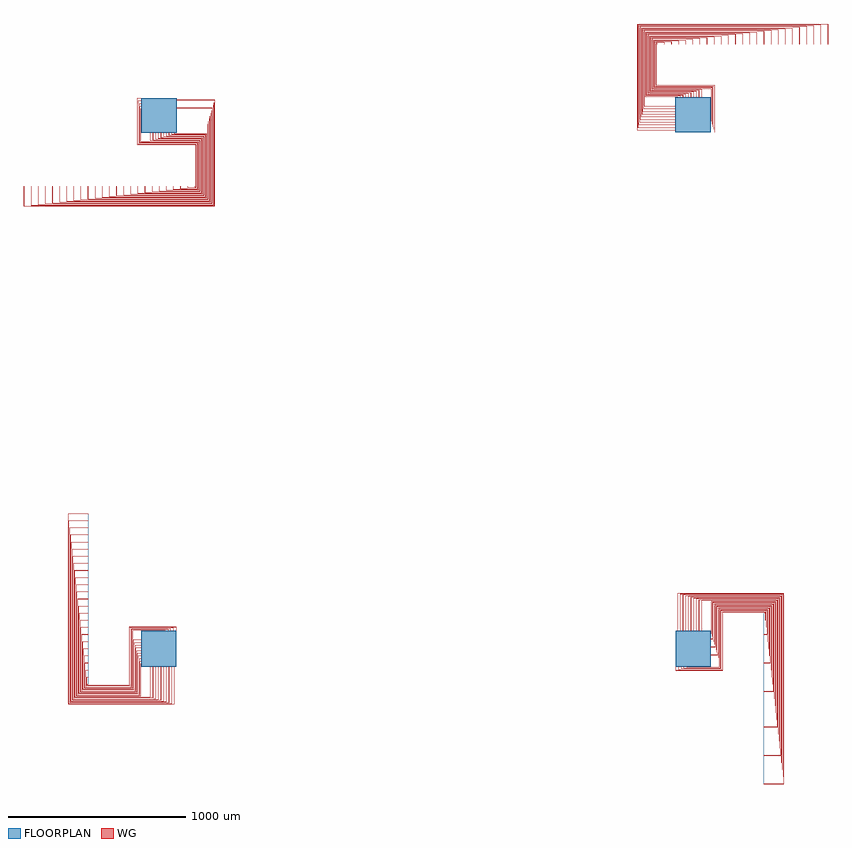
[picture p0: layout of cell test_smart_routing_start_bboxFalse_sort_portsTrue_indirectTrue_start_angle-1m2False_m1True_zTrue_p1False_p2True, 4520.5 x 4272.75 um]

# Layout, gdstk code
import gdstk
lib = gdstk.Library(unit=1e-6, precision=1e-09)
def R(c, l, rs):  # rectangles x0, y0, x1, y1
    for r in rs: c.add(gdstk.rectangle(r[:2], r[2:], *l))
def P(c, l, *ps):  # polygons
    for p in ps: c.add(gdstk.Polygon(p, *l))
WG = (1, 0)
FLOORPLAN = (10, 0)

test_smart_routing_start = lib.new_cell('test_smart_routing_start_bboxFalse_sort_portsTrue_indirectTrue_start_angle-1m2False_m1True_zTrue_p1False_p2True')
P(test_smart_routing_start, WG, [(-404.5,-204.75),(-404.5,-199.75),(-400,-199.75),(-400,-200.25),(-404,-200.25),(-404,-204.25),(-167.5,-204.25),(-167.5,122.5),(95.25,122.5),(95.25,100),(94.75,100),(94.75,122),(-167,122),(-167,-204.75)],
  [(-409,-209.25),(-409,-159.75),(-400,-159.75),(-400,-160.25),(-408.5,-160.25),(-408.5,-208.75),(-163,-208.75),(-163,118),(80.25,118),(80.25,100),(79.75,100),(79.75,117.5),(-162.5,117.5),(-162.5,-209.25)],
  [(-413.5,-213.75),(-413.5,-119.75),(-400,-119.75),(-400,-120.25),(-413,-120.25),(-413,-213.25),(-158.5,-213.25),(-158.5,113.5),(65.25,113.5),(65.25,100),(64.75,100),(64.75,113),(-158,113),(-158,-213.75)],
  [(-418,-218.25),(-418,-79.75),(-400,-79.75),(-400,-80.25),(-417.5,-80.25),(-417.5,-217.75),(-154,-217.75),(-154,109),(50.25,109),(50.25,100),(49.75,100),(49.75,108.5),(-153.5,108.5),(-153.5,-218.25)],
  [(-422.5,-222.75),(-422.5,-39.75),(-400,-39.75),(-400,-40.25),(-422,-40.25),(-422,-222.25),(-149.5,-222.25),(-149.5,104.5),(35.25,104.5),(35.25,100),(34.75,100),(34.75,104),(-149,104),(-149,-222.75)],
  [(-427,-227.25),(-427,0.25),(-400,0.25),(-400,-0.25),(-426.5,-0.25),(-426.5,-226.75),(-145,-226.75),(-145,50.25),(-100,50.25),(-100,49.75),(-144.5,49.75),(-144.5,-227.25)],
  [(-431.5,-231.75),(-431.5,40.25),(-400,40.25),(-400,39.75),(-431,39.75),(-431,-231.25),(-140.5,-231.25),(-140.5,35.25),(-100,35.25),(-100,34.75),(-140,34.75),(-140,-231.75)],
  [(-436,-236.25),(-436,80.25),(-400,80.25),(-400,79.75),(-435.5,79.75),(-435.5,-235.75),(-136,-235.75),(-136,20.25),(-100,20.25),(-100,19.75),(-135.5,19.75),(-135.5,-236.25)],
  [(-440.5,-240.75),(-440.5,120.25),(-400,120.25),(-400,119.75),(-440,119.75),(-440,-240.25),(-131.5,-240.25),(-131.5,5.25),(-100,5.25),(-100,4.75),(-131,4.75),(-131,-240.75)],
  [(-445,-245.25),(-445,160.25),(-400,160.25),(-400,159.75),(-444.5,159.75),(-444.5,-244.75),(-127,-244.75),(-127,-9.75),(-100,-9.75),(-100,-10.25),(-126.5,-10.25),(-126.5,-245.25)],
  [(-449.5,-249.75),(-449.5,200.25),(-400,200.25),(-400,199.75),(-449,199.75),(-449,-249.25),(-122.5,-249.25),(-122.5,-24.75),(-100,-24.75),(-100,-25.25),(-122,-25.25),(-122,-249.75)],
  [(-454,-254.25),(-454,240.25),(-400,240.25),(-400,239.75),(-453.5,239.75),(-453.5,-253.75),(-118,-253.75),(-118,-39.75),(-100,-39.75),(-100,-40.25),(-117.5,-40.25),(-117.5,-254.25)],
  [(-458.5,-258.75),(-458.5,280.25),(-400,280.25),(-400,279.75),(-458,279.75),(-458,-258.25),(-113.5,-258.25),(-113.5,-54.75),(-100,-54.75),(-100,-55.25),(-113,-55.25),(-113,-258.75)],
  [(-463,-263.25),(-463,320.25),(-400,320.25),(-400,319.75),(-462.5,319.75),(-462.5,-262.75),(-109,-262.75),(-109,-69.75),(-100,-69.75),(-100,-70.25),(-108.5,-70.25),(-108.5,-263.25)],
  [(-467.5,-267.75),(-467.5,360.25),(-400,360.25),(-400,359.75),(-467,359.75),(-467,-267.25),(-104.5,-267.25),(-104.5,-84.75),(-100,-84.75),(-100,-85.25),(-104,-85.25),(-104,-267.75)],
  [(-472,-272.25),(-472,400.25),(-400,400.25),(-400,399.75),(-471.5,399.75),(-471.5,-271.75),(-50.25,-271.75),(-50.25,-100),(-49.75,-100),(-49.75,-272.25)],
  [(-476.5,-276.75),(-476.5,440.25),(-400,440.25),(-400,439.75),(-476,439.75),(-476,-276.25),(-35.25,-276.25),(-35.25,-100),(-34.75,-100),(-34.75,-276.75)],
  [(-481,-281.25),(-481,480.25),(-400,480.25),(-400,479.75),(-480.5,479.75),(-480.5,-280.75),(-20.25,-280.75),(-20.25,-100),(-19.75,-100),(-19.75,-281.25)],
  [(-485.5,-285.75),(-485.5,520.25),(-400,520.25),(-400,519.75),(-485,519.75),(-485,-285.25),(-5.25,-285.25),(-5.25,-100),(-4.75,-100),(-4.75,-285.75)],
  [(-490,-290.25),(-490,560.25),(-400,560.25),(-400,559.75),(-489.5,559.75),(-489.5,-289.75),(9.75,-289.75),(9.75,-100),(10.25,-100),(10.25,-290.25)],
  [(-494.5,-294.75),(-494.5,600.25),(-400,600.25),(-400,599.75),(-494,599.75),(-494,-294.25),(24.75,-294.25),(24.75,-100),(25.25,-100),(25.25,-294.75)],
  [(-499,-299.25),(-499,640.25),(-400,640.25),(-400,639.75),(-498.5,639.75),(-498.5,-298.75),(39.75,-298.75),(39.75,-100),(40.25,-100),(40.25,-299.25)],
  [(-503.5,-303.75),(-503.5,680.25),(-400,680.25),(-400,679.75),(-503,679.75),(-503,-303.25),(54.75,-303.25),(54.75,-100),(55.25,-100),(55.25,-303.75)],
  [(-508,-308.25),(-508,720.25),(-400,720.25),(-400,719.75),(-507.5,719.75),(-507.5,-307.75),(69.75,-307.75),(69.75,-100),(70.25,-100),(70.25,-308.25)],
  [(-512.5,-312.75),(-512.5,760.25),(-400,760.25),(-400,759.75),(-512,759.75),(-512,-312.25),(84.75,-312.25),(84.75,-100),(85.25,-100),(85.25,-312.75)],
  [(199.75,2595.5),(199.75,2600),(200.25,2600),(200.25,2596),(204.25,2596),(204.25,2832.5),(-122.5,2832.5),(-122.5,3095.25),(-100,3095.25),(-100,3094.75),(-122,3094.75),(-122,2833),(204.75,2833),(204.75,2595.5)],
  [(159.75,2591),(159.75,2600),(160.25,2600),(160.25,2591.5),(208.75,2591.5),(208.75,2837),(-118,2837),(-118,3080.25),(-100,3080.25),(-100,3079.75),(-117.5,3079.75),(-117.5,2837.5),(209.25,2837.5),(209.25,2591)],
  [(119.75,2586.5),(119.75,2600),(120.25,2600),(120.25,2587),(213.25,2587),(213.25,2841.5),(-113.5,2841.5),(-113.5,3065.25),(-100,3065.25),(-100,3064.75),(-113,3064.75),(-113,2842),(213.75,2842),(213.75,2586.5)],
  [(79.75,2582),(79.75,2600),(80.25,2600),(80.25,2582.5),(217.75,2582.5),(217.75,2846),(-109,2846),(-109,3050.25),(-100,3050.25),(-100,3049.75),(-108.5,3049.75),(-108.5,2846.5),(218.25,2846.5),(218.25,2582)],
  [(39.75,2577.5),(39.75,2600),(40.25,2600),(40.25,2578),(222.25,2578),(222.25,2850.5),(-104.5,2850.5),(-104.5,3035.25),(-100,3035.25),(-100,3034.75),(-104,3034.75),(-104,2851),(222.75,2851),(222.75,2577.5)],
  [(-0.25,2573),(-0.25,2600),(0.25,2600),(0.25,2573.5),(226.75,2573.5),(226.75,2855),(-50.25,2855),(-50.25,2900),(-49.75,2900),(-49.75,2855.5),(227.25,2855.5),(227.25,2573)],
  [(-40.25,2568.5),(-40.25,2600),(-39.75,2600),(-39.75,2569),(231.25,2569),(231.25,2859.5),(-35.25,2859.5),(-35.25,2900),(-34.75,2900),(-34.75,2860),(231.75,2860),(231.75,2568.5)],
  [(-80.25,2564),(-80.25,2600),(-79.75,2600),(-79.75,2564.5),(235.75,2564.5),(235.75,2864),(-20.25,2864),(-20.25,2900),(-19.75,2900),(-19.75,2864.5),(236.25,2864.5),(236.25,2564)],
  [(-120.25,2559.5),(-120.25,2600),(-119.75,2600),(-119.75,2560),(240.25,2560),(240.25,2868.5),(-5.25,2868.5),(-5.25,2900),(-4.75,2900),(-4.75,2869),(240.75,2869),(240.75,2559.5)],
  [(-160.25,2555),(-160.25,2600),(-159.75,2600),(-159.75,2555.5),(244.75,2555.5),(244.75,2873),(9.75,2873),(9.75,2900),(10.25,2900),(10.25,2873.5),(245.25,2873.5),(245.25,2555)],
  [(-200.25,2550.5),(-200.25,2600),(-199.75,2600),(-199.75,2551),(249.25,2551),(249.25,2877.5),(24.75,2877.5),(24.75,2900),(25.25,2900),(25.25,2878),(249.75,2878),(249.75,2550.5)],
  [(-240.25,2546),(-240.25,2600),(-239.75,2600),(-239.75,2546.5),(253.75,2546.5),(253.75,2882),(39.75,2882),(39.75,2900),(40.25,2900),(40.25,2882.5),(254.25,2882.5),(254.25,2546)],
  [(-280.25,2541.5),(-280.25,2600),(-279.75,2600),(-279.75,2542),(258.25,2542),(258.25,2886.5),(54.75,2886.5),(54.75,2900),(55.25,2900),(55.25,2887),(258.75,2887),(258.75,2541.5)],
  [(-320.25,2537),(-320.25,2600),(-319.75,2600),(-319.75,2537.5),(262.75,2537.5),(262.75,2891),(69.75,2891),(69.75,2900),(70.25,2900),(70.25,2891.5),(263.25,2891.5),(263.25,2537)],
  [(-360.25,2532.5),(-360.25,2600),(-359.75,2600),(-359.75,2533),(267.25,2533),(267.25,2895.5),(84.75,2895.5),(84.75,2900),(85.25,2900),(85.25,2896),(267.75,2896),(267.75,2532.5)],
  [(-400.25,2528),(-400.25,2600),(-399.75,2600),(-399.75,2528.5),(271.75,2528.5),(271.75,2949.75),(100,2949.75),(100,2950.25),(272.25,2950.25),(272.25,2528)],
  [(-440.25,2523.5),(-440.25,2600),(-439.75,2600),(-439.75,2524),(276.25,2524),(276.25,2964.75),(100,2964.75),(100,2965.25),(276.75,2965.25),(276.75,2523.5)],
  [(-480.25,2519),(-480.25,2600),(-479.75,2600),(-479.75,2519.5),(280.75,2519.5),(280.75,2979.75),(100,2979.75),(100,2980.25),(281.25,2980.25),(281.25,2519)],
  [(-520.25,2514.5),(-520.25,2600),(-519.75,2600),(-519.75,2515),(285.25,2515),(285.25,2994.75),(100,2994.75),(100,2995.25),(285.75,2995.25),(285.75,2514.5)],
  [(-560.25,2510),(-560.25,2600),(-559.75,2600),(-559.75,2510.5),(289.75,2510.5),(289.75,3009.75),(100,3009.75),(100,3010.25),(290.25,3010.25),(290.25,2510)],
  [(-600.25,2505.5),(-600.25,2600),(-599.75,2600),(-599.75,2506),(294.25,2506),(294.25,3024.75),(100,3024.75),(100,3025.25),(294.75,3025.25),(294.75,2505.5)],
  [(-640.25,2501),(-640.25,2600),(-639.75,2600),(-639.75,2501.5),(298.75,2501.5),(298.75,3039.75),(100,3039.75),(100,3040.25),(299.25,3040.25),(299.25,2501)],
  [(-680.25,2496.5),(-680.25,2600),(-679.75,2600),(-679.75,2497),(303.25,2497),(303.25,3054.75),(100,3054.75),(100,3055.25),(303.75,3055.25),(303.75,2496.5)],
  [(-720.25,2492),(-720.25,2600),(-719.75,2600),(-719.75,2492.5),(307.75,2492.5),(307.75,3069.75),(100,3069.75),(100,3070.25),(308.25,3070.25),(308.25,2492)],
  [(-760.25,2487.5),(-760.25,2600),(-759.75,2600),(-759.75,2488),(312.25,2488),(312.25,3084.75),(100,3084.75),(100,3085.25),(312.75,3085.25),(312.75,2487.5)],
  [(3100,2904.75),(3100,2905.25),(3122,2905.25),(3122,3167),(2795.25,3167),(2795.25,3404.5),(2800.25,3404.5),(2800.25,3400),(2799.75,3400),(2799.75,3404),(2795.75,3404),(2795.75,3167.5),(3122.5,3167.5),(3122.5,2904.75)],
  [(3100,2919.75),(3100,2920.25),(3117.5,2920.25),(3117.5,3162.5),(2790.75,3162.5),(2790.75,3409),(2840.25,3409),(2840.25,3400),(2839.75,3400),(2839.75,3408.5),(2791.25,3408.5),(2791.25,3163),(3118,3163),(3118,2919.75)],
  [(3100,2934.75),(3100,2935.25),(3113,2935.25),(3113,3158),(2786.25,3158),(2786.25,3413.5),(2880.25,3413.5),(2880.25,3400),(2879.75,3400),(2879.75,3413),(2786.75,3413),(2786.75,3158.5),(3113.5,3158.5),(3113.5,2934.75)],
  [(3100,2949.75),(3100,2950.25),(3108.5,2950.25),(3108.5,3153.5),(2781.75,3153.5),(2781.75,3418),(2920.25,3418),(2920.25,3400),(2919.75,3400),(2919.75,3417.5),(2782.25,3417.5),(2782.25,3154),(3109,3154),(3109,2949.75)],
  [(3100,2964.75),(3100,2965.25),(3104,2965.25),(3104,3149),(2777.25,3149),(2777.25,3422.5),(2960.25,3422.5),(2960.25,3400),(2959.75,3400),(2959.75,3422),(2777.75,3422),(2777.75,3149.5),(3104.5,3149.5),(3104.5,2964.75)],
  [(3049.75,3100),(3049.75,3144.5),(2772.75,3144.5),(2772.75,3427),(3000.25,3427),(3000.25,3400),(2999.75,3400),(2999.75,3426.5),(2773.25,3426.5),(2773.25,3145),(3050.25,3145),(3050.25,3100)],
  [(3034.75,3100),(3034.75,3140),(2768.25,3140),(2768.25,3431.5),(3040.25,3431.5),(3040.25,3400),(3039.75,3400),(3039.75,3431),(2768.75,3431),(2768.75,3140.5),(3035.25,3140.5),(3035.25,3100)],
  [(3019.75,3100),(3019.75,3135.5),(2763.75,3135.5),(2763.75,3436),(3080.25,3436),(3080.25,3400),(3079.75,3400),(3079.75,3435.5),(2764.25,3435.5),(2764.25,3136),(3020.25,3136),(3020.25,3100)],
  [(3004.75,3100),(3004.75,3131),(2759.25,3131),(2759.25,3440.5),(3120.25,3440.5),(3120.25,3400),(3119.75,3400),(3119.75,3440),(2759.75,3440),(2759.75,3131.5),(3005.25,3131.5),(3005.25,3100)],
  [(2989.75,3100),(2989.75,3126.5),(2754.75,3126.5),(2754.75,3445),(3160.25,3445),(3160.25,3400),(3159.75,3400),(3159.75,3444.5),(2755.25,3444.5),(2755.25,3127),(2990.25,3127),(2990.25,3100)],
  [(2974.75,3100),(2974.75,3122),(2750.25,3122),(2750.25,3449.5),(3200.25,3449.5),(3200.25,3400),(3199.75,3400),(3199.75,3449),(2750.75,3449),(2750.75,3122.5),(2975.25,3122.5),(2975.25,3100)],
  [(2959.75,3100),(2959.75,3117.5),(2745.75,3117.5),(2745.75,3454),(3240.25,3454),(3240.25,3400),(3239.75,3400),(3239.75,3453.5),(2746.25,3453.5),(2746.25,3118),(2960.25,3118),(2960.25,3100)],
  [(2944.75,3100),(2944.75,3113),(2741.25,3113),(2741.25,3458.5),(3280.25,3458.5),(3280.25,3400),(3279.75,3400),(3279.75,3458),(2741.75,3458),(2741.75,3113.5),(2945.25,3113.5),(2945.25,3100)],
  [(2929.75,3100),(2929.75,3108.5),(2736.75,3108.5),(2736.75,3463),(3320.25,3463),(3320.25,3400),(3319.75,3400),(3319.75,3462.5),(2737.25,3462.5),(2737.25,3109),(2930.25,3109),(2930.25,3100)],
  [(2914.75,3100),(2914.75,3104),(2732.25,3104),(2732.25,3467.5),(3360.25,3467.5),(3360.25,3400),(3359.75,3400),(3359.75,3467),(2732.75,3467),(2732.75,3104.5),(2915.25,3104.5),(2915.25,3100)],
  [(2727.75,3049.75),(2727.75,3472),(3400.25,3472),(3400.25,3400),(3399.75,3400),(3399.75,3471.5),(2728.25,3471.5),(2728.25,3050.25),(2900,3050.25),(2900,3049.75)],
  [(2723.25,3034.75),(2723.25,3476.5),(3440.25,3476.5),(3440.25,3400),(3439.75,3400),(3439.75,3476),(2723.75,3476),(2723.75,3035.25),(2900,3035.25),(2900,3034.75)],
  [(2718.75,3019.75),(2718.75,3481),(3480.25,3481),(3480.25,3400),(3479.75,3400),(3479.75,3480.5),(2719.25,3480.5),(2719.25,3020.25),(2900,3020.25),(2900,3019.75)],
  [(2714.25,3004.75),(2714.25,3485.5),(3520.25,3485.5),(3520.25,3400),(3519.75,3400),(3519.75,3485),(2714.75,3485),(2714.75,3005.25),(2900,3005.25),(2900,3004.75)],
  [(2709.75,2989.75),(2709.75,3490),(3560.25,3490),(3560.25,3400),(3559.75,3400),(3559.75,3489.5),(2710.25,3489.5),(2710.25,2990.25),(2900,2990.25),(2900,2989.75)],
  [(2705.25,2974.75),(2705.25,3494.5),(3600.25,3494.5),(3600.25,3400),(3599.75,3400),(3599.75,3494),(2705.75,3494),(2705.75,2975.25),(2900,2975.25),(2900,2974.75)],
  [(2700.75,2959.75),(2700.75,3499),(3640.25,3499),(3640.25,3400),(3639.75,3400),(3639.75,3498.5),(2701.25,3498.5),(2701.25,2960.25),(2900,2960.25),(2900,2959.75)],
  [(2696.25,2944.75),(2696.25,3503.5),(3680.25,3503.5),(3680.25,3400),(3679.75,3400),(3679.75,3503),(2696.75,3503),(2696.75,2945.25),(2900,2945.25),(2900,2944.75)],
  [(2691.75,2929.75),(2691.75,3508),(3720.25,3508),(3720.25,3400),(3719.75,3400),(3719.75,3507.5),(2692.25,3507.5),(2692.25,2930.25),(2900,2930.25),(2900,2929.75)],
  [(2687.25,2914.75),(2687.25,3512.5),(3760.25,3512.5),(3760.25,3400),(3759.75,3400),(3759.75,3512),(2687.75,3512),(2687.75,2915.25),(2900,2915.25),(2900,2914.75)],
  [(2904.75,-122.5),(2904.75,-100),(2905.25,-100),(2905.25,-122),(3167,-122),(3167,204.75),(3404.5,204.75),(3404.5,199.75),(3400,199.75),(3400,200.25),(3404,200.25),(3404,204.25),(3167.5,204.25),(3167.5,-122.5)],
  [(2919.75,-118),(2919.75,-100),(2920.25,-100),(2920.25,-117.5),(3162.5,-117.5),(3162.5,209.25),(3409,209.25),(3409,159.75),(3400,159.75),(3400,160.25),(3408.5,160.25),(3408.5,208.75),(3163,208.75),(3163,-118)],
  [(2934.75,-113.5),(2934.75,-100),(2935.25,-100),(2935.25,-113),(3158,-113),(3158,213.75),(3413.5,213.75),(3413.5,119.75),(3400,119.75),(3400,120.25),(3413,120.25),(3413,213.25),(3158.5,213.25),(3158.5,-113.5)],
  [(2949.75,-109),(2949.75,-100),(2950.25,-100),(2950.25,-108.5),(3153.5,-108.5),(3153.5,218.25),(3418,218.25),(3418,79.75),(3400,79.75),(3400,80.25),(3417.5,80.25),(3417.5,217.75),(3154,217.75),(3154,-109)],
  [(2964.75,-104.5),(2964.75,-100),(2965.25,-100),(2965.25,-104),(3149,-104),(3149,222.75),(3422.5,222.75),(3422.5,39.75),(3400,39.75),(3400,40.25),(3422,40.25),(3422,222.25),(3149.5,222.25),(3149.5,-104.5)],
  [(3100,-50.25),(3100,-49.75),(3144.5,-49.75),(3144.5,227.25),(3427,227.25),(3427,-0.25),(3400,-0.25),(3400,0.25),(3426.5,0.25),(3426.5,226.75),(3145,226.75),(3145,-50.25)],
  [(3400,-40.25),(3400,-39.75),(3431,-39.75),(3431,231.25),(3140.5,231.25),(3140.5,-35.25),(3100,-35.25),(3100,-34.75),(3140,-34.75),(3140,231.75),(3431.5,231.75),(3431.5,-40.25)],
  [(3400,-80.25),(3400,-79.75),(3435.5,-79.75),(3435.5,235.75),(3136,235.75),(3136,-20.25),(3100,-20.25),(3100,-19.75),(3135.5,-19.75),(3135.5,236.25),(3436,236.25),(3436,-80.25)],
  [(3400,-120.25),(3400,-119.75),(3440,-119.75),(3440,240.25),(3131.5,240.25),(3131.5,-5.25),(3100,-5.25),(3100,-4.75),(3131,-4.75),(3131,240.75),(3440.5,240.75),(3440.5,-120.25)],
  [(3400,-160.25),(3400,-159.75),(3444.5,-159.75),(3444.5,244.75),(3127,244.75),(3127,9.75),(3100,9.75),(3100,10.25),(3126.5,10.25),(3126.5,245.25),(3445,245.25),(3445,-160.25)],
  [(3400,-200.25),(3400,-199.75),(3449,-199.75),(3449,249.25),(3122.5,249.25),(3122.5,24.75),(3100,24.75),(3100,25.25),(3122,25.25),(3122,249.75),(3449.5,249.75),(3449.5,-200.25)],
  [(3400,-240.25),(3400,-239.75),(3453.5,-239.75),(3453.5,253.75),(3118,253.75),(3118,39.75),(3100,39.75),(3100,40.25),(3117.5,40.25),(3117.5,254.25),(3454,254.25),(3454,-240.25)],
  [(3400,-280.25),(3400,-279.75),(3458,-279.75),(3458,258.25),(3113.5,258.25),(3113.5,54.75),(3100,54.75),(3100,55.25),(3113,55.25),(3113,258.75),(3458.5,258.75),(3458.5,-280.25)],
  [(3400,-320.25),(3400,-319.75),(3462.5,-319.75),(3462.5,262.75),(3109,262.75),(3109,69.75),(3100,69.75),(3100,70.25),(3108.5,70.25),(3108.5,263.25),(3463,263.25),(3463,-320.25)],
  [(3400,-360.25),(3400,-359.75),(3467,-359.75),(3467,267.25),(3104.5,267.25),(3104.5,84.75),(3100,84.75),(3100,85.25),(3104,85.25),(3104,267.75),(3467.5,267.75),(3467.5,-360.25)],
  [(3400,-400.25),(3400,-399.75),(3471.5,-399.75),(3471.5,271.75),(3050.25,271.75),(3050.25,100),(3049.75,100),(3049.75,272.25),(3472,272.25),(3472,-400.25)],
  [(3400,-440.25),(3400,-439.75),(3476,-439.75),(3476,276.25),(3035.25,276.25),(3035.25,100),(3034.75,100),(3034.75,276.75),(3476.5,276.75),(3476.5,-440.25)],
  [(3400,-480.25),(3400,-479.75),(3480.5,-479.75),(3480.5,280.75),(3020.25,280.75),(3020.25,100),(3019.75,100),(3019.75,281.25),(3481,281.25),(3481,-480.25)],
  [(3400,-520.25),(3400,-519.75),(3485,-519.75),(3485,285.25),(3005.25,285.25),(3005.25,100),(3004.75,100),(3004.75,285.75),(3485.5,285.75),(3485.5,-520.25)],
  [(3400,-560.25),(3400,-559.75),(3489.5,-559.75),(3489.5,289.75),(2990.25,289.75),(2990.25,100),(2989.75,100),(2989.75,290.25),(3490,290.25),(3490,-560.25)],
  [(3400,-600.25),(3400,-599.75),(3494,-599.75),(3494,294.25),(2975.25,294.25),(2975.25,100),(2974.75,100),(2974.75,294.75),(3494.5,294.75),(3494.5,-600.25)],
  [(3400,-640.25),(3400,-639.75),(3498.5,-639.75),(3498.5,298.75),(2960.25,298.75),(2960.25,100),(2959.75,100),(2959.75,299.25),(3499,299.25),(3499,-640.25)],
  [(3400,-680.25),(3400,-679.75),(3503,-679.75),(3503,303.25),(2945.25,303.25),(2945.25,100),(2944.75,100),(2944.75,303.75),(3503.5,303.75),(3503.5,-680.25)],
  [(3400,-720.25),(3400,-719.75),(3507.5,-719.75),(3507.5,307.75),(2930.25,307.75),(2930.25,100),(2929.75,100),(2929.75,308.25),(3508,308.25),(3508,-720.25)],
  [(3400,-760.25),(3400,-759.75),(3512,-759.75),(3512,312.25),(2915.25,312.25),(2915.25,100),(2914.75,100),(2914.75,312.75),(3512.5,312.75),(3512.5,-760.25)])
R(test_smart_routing_start, FLOORPLAN, [(-100,-100,95,100), (2905,-100,3100,100), (-100,2900,100,3095), (2900,2905,3100,3100)])
P(test_smart_routing_start, FLOORPLAN, [(-400,-200),(-400,760),(-400,760),(-400,-200)],
  [(-760,2600),(-760,2600),(200,2600),(200,2600)],
  [(3400,-760),(3400,200),(3400,200),(3400,-760)],
  [(2800,3400),(2800,3400),(3760,3400),(3760,3400)])

lib.write_gds('test_smart_routing_start_bboxFalse_sort_portsTrue_indirectTrue_start_angle-1m2False_m1True_zTrue_p1False_p2True.gds')
